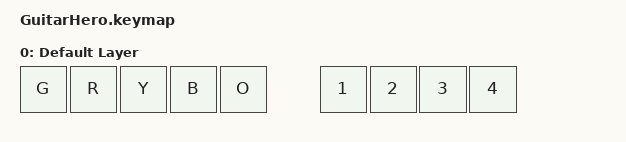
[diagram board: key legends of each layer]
/*
 * Copyright (c) 2020 The ZMK Contributors
 *
 * SPDX-License-Identifier: MIT
 */

#include <behaviors.dtsi>
#include <dt-bindings/zmk/keys.h>
#include <dt-bindings/zmk/bt.h>
#include <dt-bindings/zmk/rgb.h>

/ {
    keymap {
        compatible = "zmk,keymap";

        default_layer {
            display-name = "Default Layer";
            // Green: G | Red: R | yellow : Y | Blue: B | Orange: O | Button1: 1 | Button2: 2 | StrumUp: 3 | StrumDown: 4

            bindings = <
                &kp G   &kp R   &kp Y   &kp B  &kp O  &kp N1  &kp N2  &kp N3  &kp N4
            >;
        };
    };
};
